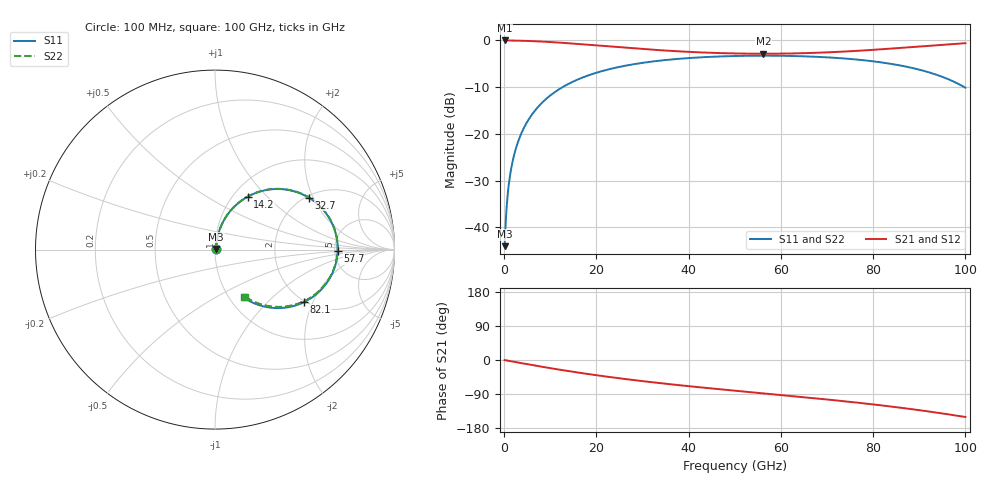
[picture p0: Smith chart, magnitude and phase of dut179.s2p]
! Touchstone file exported from HFSS 2026.1.0
!  File:  C:/ffzhzh/LocalFiles/Ansys_Project_Files/temp_train_RDL_179_1783500364_31944.aedt
!  Generated:  04:47:09 PM Jul  8, 2026
!  Design:  RDL
!  Project:  temp_train_RDL_179_1783500364_31944
! Variables:
!  h_bsmrdl = 2um
!  h_ox = 20um
!  h_rdl = 5um
!  h_sub = 80um
!  h_tmrdl = 2.7um
!  h_tsv = 80um
!  h_via = 3um
!  l_bsmrdl = 300um
!  l_sub = 922.42um
!  l_tmrdl = 522.42um
!  m_sub = 200um
!  pitch = 43.9um
!  r_tsv = 6um
!  s_tmrdl = 10um
!  w_bsmrdl = 18um
!  w_sub = 500um
!  w_tmrdl = 12.38um
!  x_tsv_center1 = 528.61um
!  x_tsv_center2 = 846.61um
!  x_tsv_center3 = 1381.41um
!  x_tsv_center4 = 1699.41um
!  x_tsv_center5 = 2234.21um
!  x_tsv_center6 = 2552.21um
# GHz S MA R 50.000000
! Terminal data exported
! Port[1] = TM_RDL1_1_T1
! Port[2] = TM_RDL1_1_T2
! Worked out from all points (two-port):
!   1000 points, 100 MHz to 100 GHz, reference 50 ohm
!   highest |S21| = -0.05 dB at 100 MHz (marker M1); lowest = -2.9 dB at 56.2 GHz (marker M2)
!   |S21| within 3 dB of the highest: start of sweep to end of sweep
!   lowest |S11| = -44.0 dB at 100 MHz (marker M3), VSWR 1.01, Z = 50.6 + j0.288 ohm
!   |S11| at or under -10 dB: start of sweep to 12.71 GHz; 99.73486 GHz to end of sweep
!   |S22| runs from -44.0 to -3.3 dB; largest |S21 - S12| = 1.8e-14
!   S11 on the Smith chart (normalised r, x): 100 MHz: 1.01, +0.01; 14.2 GHz: 1.16, +0.78; 32.7 GHz: 2.06, +1.85; 57.7 GHz: 5.31, -0.15; 82.1 GHz: 1.97, -1.73; 100 GHz: 1.16, -0.69
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0.1  0.006287 27.0  0.9944 -0.2  0.9944 -0.2  0.006287 27.0
! Gamma 0 0 0 0
! Port Impedance 50 0 50 0
0.9  0.02582 73.9  0.9934 -2.0  0.9934 -2.0  0.02582 73.9
1.5  0.04174 77.5  0.9925 -3.3  0.9925 -3.3  0.04174 77.6
2.4  0.06572 78.6  0.991 -5.3  0.991 -5.3  0.06572 78.6
3.7  0.1002 77.6  0.9877 -8.2  0.9877 -8.2  0.1002 77.7
5.5  0.147 74.8  0.9812 -12.1  0.9812 -12.1  0.147 74.8
7.8  0.2046 70.5  0.9699 -16.9  0.9699 -16.9  0.2046 70.6
10.7  0.2725 64.9  0.9519 -22.9  0.9519 -22.9  0.2725 65.0
14.2  0.3466 58.3  0.9263 -29.7  0.9263 -29.7  0.3465 58.4
16.8  0.3957 53.6  0.9059 -34.5  0.9059 -34.5  0.3956 53.7
24.1  0.5075 41.5  0.8479 -46.9  0.8479 -46.9  0.5075 41.7
32.7  0.5968 29.1  0.7885 -59.5  0.7885 -59.5  0.5968 29.3
33.4  0.6024 28.1  0.7844 -60.5  0.7844 -60.5  0.6024 28.4
41.6  0.6521 17.8  0.7448 -71.0  0.7448 -71.0  0.6521 18.1
50.1  0.6782 7.9  0.7221 -81.1  0.7221 -81.1  0.6782 8.3
56.2  0.6837 1.0  0.7173 -88.1  0.7173 -88.1  0.6837 1.5
57.7  0.6835 -0.6  0.7176 -89.8  0.7176 -89.8  0.6835 -0.2
66.7  0.6683 -10.9  0.7314 -100.2  0.7314 -100.2  0.6683 -10.3
82.1  0.5766 -30.4  0.8023 -120.2  0.8023 -120.2  0.5766 -29.6
83.4  0.5639 -32.3  0.8108 -122.1  0.8108 -122.1  0.564 -31.4
92.1  0.4536 -45.6  0.8735 -135.9  0.8735 -135.9  0.4537 -44.5
100  0.3108 -59.2  0.9298 -150.4  0.9298 -150.4  0.3111 -57.5
